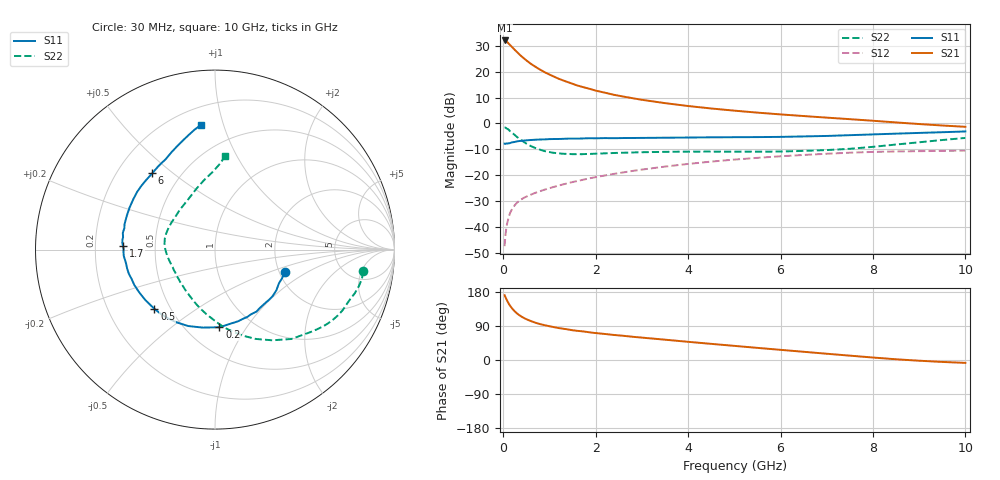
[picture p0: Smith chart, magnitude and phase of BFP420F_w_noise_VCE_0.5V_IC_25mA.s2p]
! Infineon Technologies  Discrete & RF Semiconductors
! BFP420F
! VCE =  0.5 V,  IC =  25 mA
! Common Emitter S-Parameters:  Sep 2011
# GHz  S  MA  R  50
!  f  S11  S21  S12  S22
! GHz  MAG  ANG  MAG  ANG  MAG  ANG  MAG  ANG
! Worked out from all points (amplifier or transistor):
!   54 points, 30 MHz to 10 GHz, reference 50 ohm
!   highest |S21| = 32.0 dB at 30 MHz (marker M1)
!   |S21| within 3 dB of that: start of sweep to 216 MHz
!   unconditionally stable (mu >= 1): 1.29 GHz to end of sweep
!   at 120 MHz: K = 0.38, MSG = 33.4 dB, |S12| = -36.1 dB
!   at 1.3 GHz: K = 1.00, MAG = 19.7 dB, |S12| = -23.5 dB
!   at 10 GHz: K = 1.21, MAG = 1.8 dB, |S12| = -10.5 dB
!   lowest NFmin = 1.66 dB at 450 MHz
!   S11 on the Smith chart (normalised r, x): 30 MHz: 2.15, -0.64; 200 MHz: 0.71, -0.76; 500 MHz: 0.41, -0.35; 1.7 GHz: 0.32, +0.02; 6 GHz: 0.35, +0.43; 10 GHz: 0.31, +0.85
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0.03  0.4082 -17.6  39.83 171.1  0.0043 87.0  0.8355 -8.3
0.06  0.4102 -33.5  38.52 162.8  0.0086 80.8  0.8157 -17.4
0.1  0.4102 -52.6  36.21 152.9  0.0133 74.6  0.7779 -27.9
0.12  0.4127 -61.2  34.64 148.3  0.0157 72.5  0.7544 -32.7
0.15  0.4195 -71.9  32.44 142.8  0.0189 68.6  0.708 -40.1
0.2  0.4334 -86.7  29.21 134.9  0.0231 64.5  0.655 -49.5
0.25  0.44 -99.1  26.17 128.3  0.0265 61.2  0.5978 -57.7
0.3  0.4514 -109.4  23.73 122.7  0.0298 58.8  0.5464 -65.6
0.35  0.4583 -117.9  21.44 118.1  0.0323 57.3  0.5053 -71.8
0.4  0.4642 -124.7  19.52 114.1  0.0347 56.1  0.4693 -77.5
0.5  0.4722 -135.7  16.45 107.7  0.0388 54.6  0.4093 -87.8
0.7  0.4854 -151.0  12.33 98.3  0.0461 53.9  0.3347 -105.1
0.9  0.4926 -160.7  9.696 91.8  0.053 54.3  0.2923 -119.3
1.2  0.5015 -171.1  7.276 84.3  0.0634 55.1  0.2652 -136.7
1.7  0.5126 177.9  5.095 75.8  0.0811 55.4  0.2552 -157.3
2.4  0.519 166.7  3.559 66.0  0.1067 53.9  0.2694 -173.6
3.5  0.5306 153.7  2.463 53.6  0.1473 49.2  0.2833 172.8
5.5  0.5454 134.5  1.617 32.0  0.2171 35.6  0.2856 147.8
6  0.5506 129.4  1.494 26.8  0.2327 31.8  0.287 139.8
7  0.5739 118.6  1.294 16.5  0.2603 24.0  0.3066 123.3
8.5  0.6359 106.0  1.046 1.9  0.2882 11.8  0.3921 98.9
10  0.7004 96.3  0.861 -7.6  0.3 3.4  0.5256 83.7
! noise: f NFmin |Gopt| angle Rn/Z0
0.45  1.66  0.23  -177  0.1
0.9  1.68  0.25  -175  0.13
1.9  1.81  0.32  -166  0.14
2.4  1.87  0.32  -160  0.12
3.5  2.1  0.32  -151  0.17
